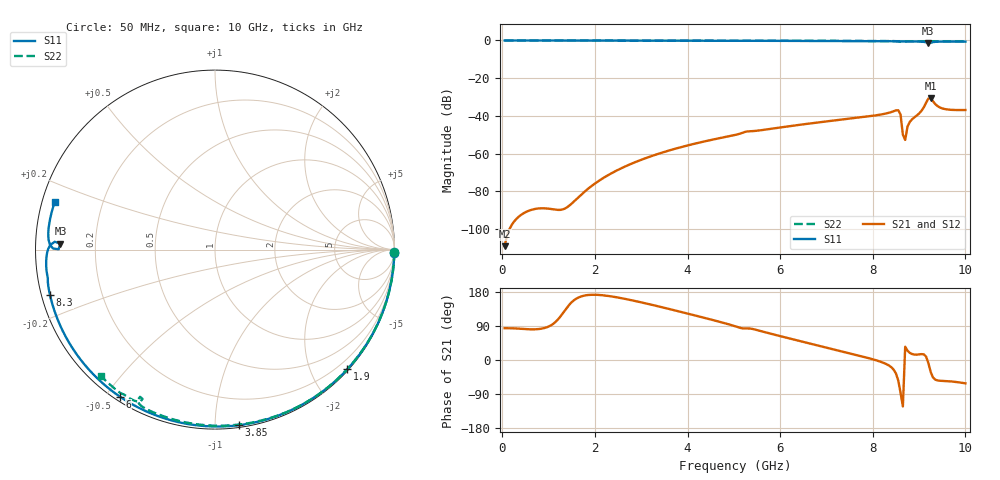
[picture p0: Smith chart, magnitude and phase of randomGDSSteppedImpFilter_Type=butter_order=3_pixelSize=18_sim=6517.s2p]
! freq	dB(S11)	phase(S11)	dB(S12)	phase(S12)
!  dB(S21)	phase(S21)	dB(S22)	phase(S22)
!S-par simulation data
#  GHz  S  DB  R 50
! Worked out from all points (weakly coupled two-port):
!   200 points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, 50 MHz to 10 GHz, reference 50 ohm
!   highest |S21| = -30.70 dB at 9.25 GHz (marker M1); lowest = -109.0 dB at 50 MHz (marker M2)
!   lowest |S11| = -1.3 dB at 9.2 GHz (marker M3), VSWR 13.49, Z = 3.71 + j0.942 ohm
!   |S11| at or under -10 dB: nowhere
!   |S22| runs from -0.7 to 0.0 dB; largest |S21 - S12| = 0
!   S11 on the Smith chart (normalised r, x): 50 MHz: 4, -98; 1.9 GHz: 0.02, -2.59; 3.85 GHz: 0.01, -1.14; 6 GHz: 0.02, -0.55; 8.3 GHz: 0.02, -0.13; 10 GHz: 0.04, +0.15
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0.05  -0.01 -1.2  -109.02 83.9  -109.02 83.9  -0.00 -0.8
1.75  -0.05 -38.9  -80.70 169.4  -80.70 169.4  -0.03 -26.3
1.9  -0.05 -42.2  -77.66 172.0  -77.66 172.0  -0.04 -28.5
2.55  -0.07 -56.0  -67.96 163.7  -67.96 163.7  -0.05 -38.0
3.4  -0.10 -73.4  -59.83 140.7  -59.83 140.7  -0.07 -50.1
3.85  -0.11 -82.3  -56.61 127.2  -56.61 127.2  -0.08 -56.4
5.05  -0.16 -105.3  -49.95 88.2  -49.95 88.2  -0.11 -72.5
6  -0.21 -122.7  -46.13 63.0  -46.13 63.0  -0.15 -84.8
6.7  -0.26 -135.4  -43.82 41.7  -43.82 41.7  -0.18 -93.5
8.3  -0.41 -164.7  -38.63 -11.2  -38.63 -11.2  -0.29 -113.1
8.35  -0.42 -165.7  -38.32 -14.6  -38.32 -14.6  -0.30 -113.8
8.55  -0.47 -169.6  -36.96 -53.8  -36.96 -53.8  -0.51 -117.2
8.6  -0.49 -170.4  -39.26 -86.8  -39.26 -86.8  -0.72 -117.0
8.65  -0.49 -171.3  -49.93 -122.6  -49.93 -122.6  -0.68 -115.9
8.7  -0.48 -172.3  -52.73 35.1  -52.73 35.1  -0.54 -116.1
8.75  -0.48 -173.3  -45.63 24.6  -45.63 24.6  -0.46 -116.8
8.8  -0.49 -174.4  -43.15 18.8  -43.15 18.8  -0.43 -117.5
9.05  -0.64 179.7  -37.36 15.5  -37.36 15.5  -0.40 -120.7
9.2  -1.29 177.8  -30.80 -7.8  -30.80 -7.8  -0.41 -122.3
9.25  -1.19 179.9  -30.70 -31.4  -30.70 -31.4  -0.39 -122.9
9.5  -0.60 174.3  -36.00 -55.1  -36.00 -55.1  -0.40 -126.1
10  -0.62 163.3  -36.86 -61.6  -36.86 -61.6  -0.46 -131.9
